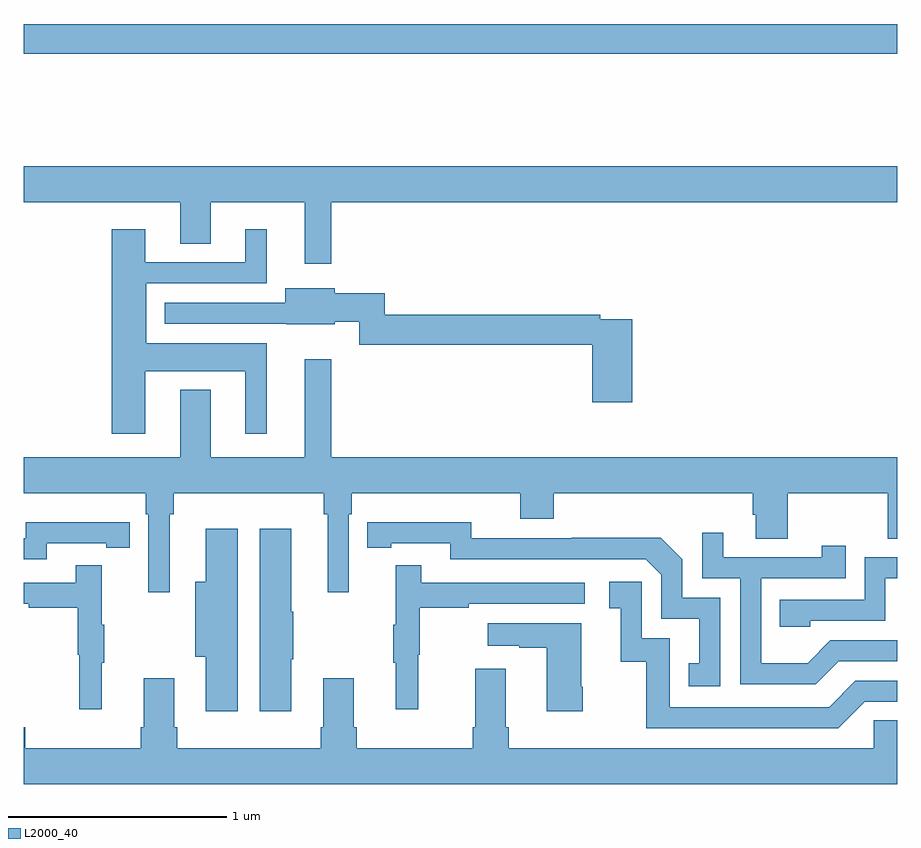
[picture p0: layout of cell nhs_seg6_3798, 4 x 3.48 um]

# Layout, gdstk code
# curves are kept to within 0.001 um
import gdstk
lib = gdstk.Library(unit=1e-6, precision=1e-09)
def R(c, l, rs):  # rectangles x0, y0, x1, y1
    for r in rs: c.add(gdstk.rectangle(r[:2], r[2:], *l))
def P(c, l, *ps):  # polygons
    for p in ps: c.add(gdstk.Polygon(p, *l))
L2000_40 = (2000, 40)

nhs_seg6_3798 = lib.new_cell('nhs_seg6_3798')
R(nhs_seg6_3798, L2000_40, [(335,953.344,339,953.48)])
P(nhs_seg6_3798, L2000_40, [(336.409,952.664),(339,952.664),(339,952.828),(335,952.828),(335,952.664),(335.717,952.664),(335.717,952.474),(335.857,952.474),(335.857,952.664),(336.287,952.664),(336.287,952.383),(336.409,952.383)],
  [(335.557,951.89),(336.014,951.89),(336.014,951.603),(336.112,951.603),(336.112,952.018),(335.56,952.018),(335.56,952.293),(336.112,952.293),(336.112,952.54),(336.014,952.54),(336.014,952.389),(335.557,952.389),(335.557,952.54),(335.402,952.54),(335.402,951.603),(335.557,951.603)],
  [(337.787,952.128),(337.64,952.128),(337.64,952.148),(336.653,952.148),(336.653,952.246),(336.424,952.246),(336.424,952.27),(336.197,952.27),(336.197,952.203),(335.645,952.203),(335.645,952.107),(336.201,952.107),(336.201,952.106),(336.424,952.106),(336.424,952.117),(336.537,952.117),(336.537,952.012),(337.604,952.012),(337.604,951.747),(337.787,951.747)],
  [(335.668,951.236),(335.687,951.236),(335.687,951.332),(336.373,951.332),(336.373,951.236),(336.392,951.236),(336.392,950.877),(336.489,950.877),(336.489,951.236),(336.503,951.236),(336.503,951.332),(337.274,951.332),(337.274,951.215),(337.427,951.215),(337.427,951.332),(338.339,951.332),(338.339,951.234),(338.351,951.234),(338.351,951.124),(338.499,951.124),(338.499,951.332),(338.956,951.332),(338.956,951.124),(339,951.124),(339,951.496),(336.409,951.496),(336.409,951.946),(336.287,951.946),(336.287,951.496),(335.857,951.496),(335.857,951.805),(335.717,951.805),(335.717,951.496),(335,951.496),(335,951.332),(335.558,951.332),(335.558,951.236),(335.571,951.236),(335.571,950.877),(335.668,950.877)],
  [(335.106,951.102),(335.378,951.102),(335.378,951.082),(335.486,951.082),(335.486,951.198),(335.378,951.198),(335.378,951.199),(335.01,951.199),(335.01,951.126),(335,951.126),(335,951.03),(335.106,951.03)],
  [(338.19,950.853),(338.016,950.853),(338.016,951.03),(337.918,951.128),(337.51,951.128),(337.51,951.126),(337.05,951.126),(337.05,951.199),(336.574,951.198),(336.574,951.082),(336.682,951.082),(336.682,951.102),(336.954,951.102),(336.954,951.03),(337.848,951.03),(337.92,950.958),(337.92,950.757),(338.093,950.757),(338.093,950.553),(338.044,950.553),(338.044,950.448),(338.19,950.448)],
  [(335.98,951.169),(335.834,951.169),(335.834,950.926),(335.786,950.926),(335.786,950.582),(335.834,950.582),(335.834,950.334),(335.98,950.334)],
  [(336.226,950.572),(336.234,950.572),(336.234,950.789),(336.226,950.789),(336.226,951.169),(336.08,951.169),(336.08,950.334),(336.226,950.334)],
  [(338.731,950.562),(339,950.562),(339,950.658),(338.694,950.658),(338.59,950.554),(338.376,950.554),(338.376,950.943),(338.765,950.943),(338.765,951.091),(338.654,951.091),(338.654,951.039),(338.203,951.039),(338.203,951.151),(338.106,951.151),(338.106,950.943),(338.28,950.943),(338.28,950.457),(338.626,950.457)],
  [(338.601,950.748),(338.946,950.748),(338.946,950.943),(339,950.943),(339,951.039),(338.85,951.039),(338.85,950.844),(338.461,950.844),(338.461,950.721),(338.601,950.721)],
  [(336.806,950.592),(336.814,950.592),(336.814,950.806),(337.037,950.806),(337.037,950.826),(337.57,950.826),(337.57,950.922),(336.821,950.922),(336.821,951.001),(336.704,951.001),(336.704,950.729),(336.693,950.729),(336.693,950.555),(336.704,950.555),(336.704,950.343),(336.806,950.343)],
  [(335.357,950.555),(335.368,950.555),(335.368,950.729),(335.357,950.729),(335.357,951.001),(335.239,951.001),(335.239,950.922),(335,950.922),(335,950.826),(335.023,950.826),(335.023,950.806),(335.247,950.806),(335.247,950.592),(335.254,950.592),(335.254,950.343),(335.357,950.343)],
  [(338.85,950.376),(339,950.376),(339,950.472),(338.808,950.472),(338.688,950.352),(337.959,950.352),(337.959,950.667),(337.83,950.667),(337.83,950.926),(337.68,950.926),(337.68,950.805),(337.733,950.805),(337.733,950.559),(337.851,950.559),(337.851,950.256),(338.73,950.256)],
  [(337.56,950.446),(337.552,950.446),(337.552,950.737),(337.125,950.737),(337.125,950.633),(337.268,950.633),(337.268,950.623),(337.394,950.623),(337.394,950.334),(337.56,950.334)],
  [(339,950.291),(338.892,950.291),(338.892,950.164),(337.22,950.164),(337.22,950.26),(337.207,950.26),(337.207,950.527),(337.067,950.527),(337.067,950.26),(337.055,950.26),(337.055,950.164),(336.524,950.164),(336.524,950.26),(336.511,950.26),(336.511,950.485),(336.371,950.485),(336.371,950.26),(336.359,950.26),(336.359,950.164),(335.702,950.164),(335.702,950.26),(335.689,950.26),(335.689,950.485),(335.549,950.485),(335.549,950.26),(335.537,950.26),(335.537,950.164),(335.006,950.164),(335.006,950.26),(335,950.26),(335,950),(339,950)])

lib.write_gds('nhs_seg6_3798.gds')
